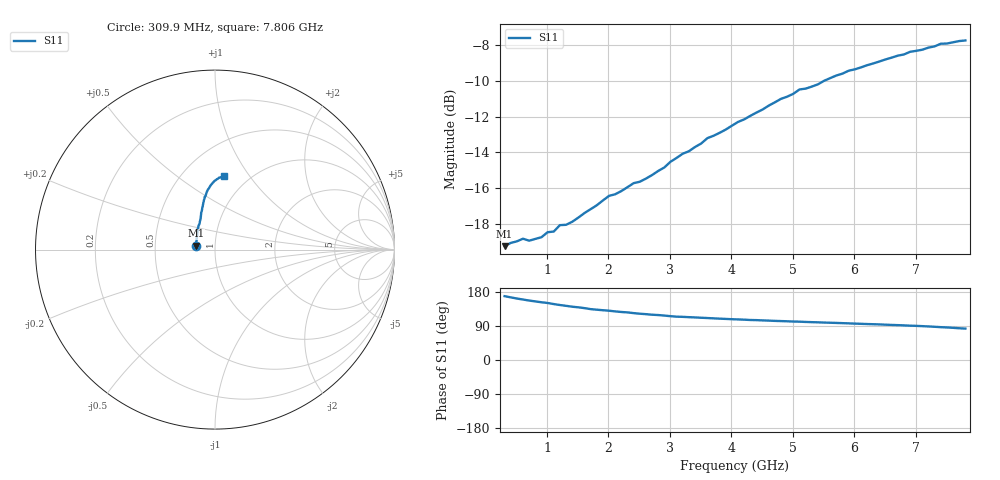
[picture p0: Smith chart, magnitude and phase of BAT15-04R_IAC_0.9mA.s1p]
! Infineon Technologies  Discrete & RF Semiconductors
! BAT15-04R
! IAC = 0.9 mA
! One-Port S-Parameters
# Hz  S  MA  R  50
!f  S11
!Hz  Mag  Ang
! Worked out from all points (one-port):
!   76 points, 309.9 MHz to 7.806 GHz, reference 50 ohm
!   lowest |S11| = -19.3 dB at 309.9 MHz (marker M1), VSWR 1.24, Z = 40.3 + j1.78 ohm
!   |S11| at or under -10 dB: start of sweep to 5.504 GHz
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3.0985e8  0.1087 168.4
6.097e8  0.1141 159.5
7.0965e8  0.1127 156.9
9.0955e8  0.1152 152.4
1.0095e9  0.119 150.5
1.10945e9  0.1195 147.6
1.2094e9  0.1246 145.1
1.30935e9  0.1248 142.9
1.8091e9  0.1416 132.8
2.009e9  0.1505 130.1
2.2089e9  0.1552 126.7
2.4088e9  0.1634 123.7
2.50875e9  0.1649 122.2
2.70865e9  0.1722 119.5
3.2084e9  0.1977 113.9
3.50825e9  0.2111 111.5
3.6082e9  0.2185 110.8
3.8081e9  0.2262 109.1
4.10795e9  0.2427 107.1
4.8076e9  0.2818 102.7
5.0075e9  0.2911 101.5
5.10745e9  0.2993 101.1
5.30735e9  0.3049 99.9
5.70715e9  0.3275 97.8
6.007e9  0.3408 96.0
6.90655e9  0.3817 90.6
7.4063e9  0.4022 86.7
7.8061e9  0.4107 82.9
